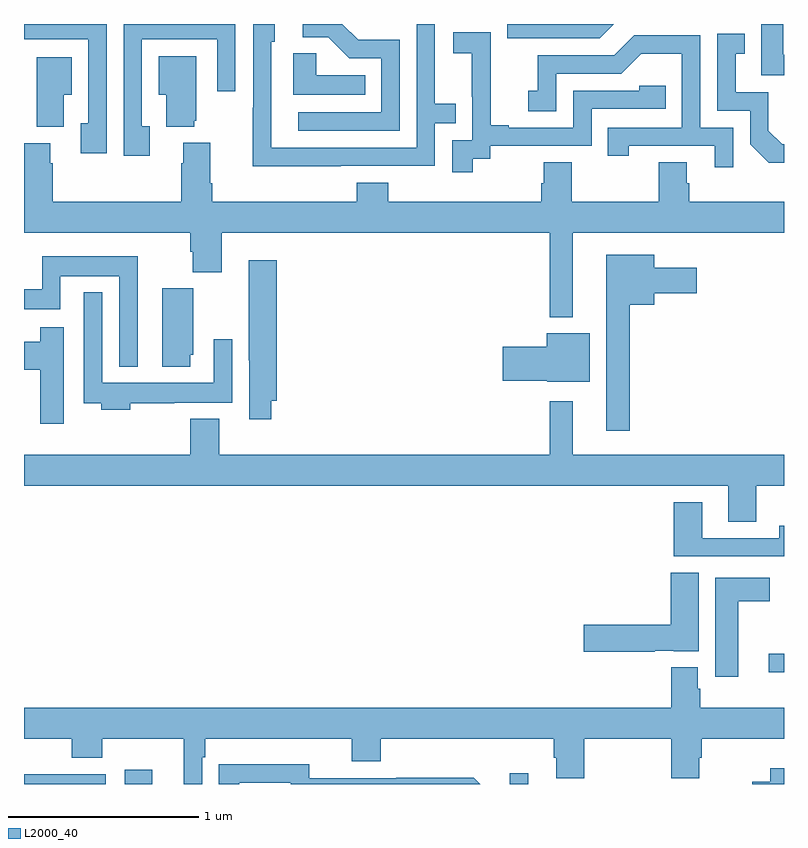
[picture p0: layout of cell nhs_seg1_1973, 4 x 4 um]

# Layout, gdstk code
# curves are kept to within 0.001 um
import gdstk
lib = gdstk.Library(unit=1e-6, precision=1e-09)
def R(c, l, rs):  # rectangles x0, y0, x1, y1
    for r in rs: c.add(gdstk.rectangle(r[:2], r[2:], *l))
def P(c, l, *ps):  # polygons
    for p in ps: c.add(gdstk.Polygon(p, *l))
L2000_40 = (2000, 40)

nhs_seg1_1973 = lib.new_cell('nhs_seg1_1973')
R(nhs_seg1_1973, L2000_40, [(219,514.199,219.43,514.25), (219.53,514.199,219.676,514.273), (221.556,514.199,221.653,514.255), (222.921,514.787,223,514.884)])
P(nhs_seg1_1973, L2000_40, [(223,518.038),(222.995,518.038),(222.995,518.199),(222.879,518.199),(222.879,517.929),(223,517.929)],
  [(222.105,518.199),(221.544,518.199),(221.544,518.124),(222.03,518.124)],
  [(220.667,517.452),(221.163,517.452),(221.163,517.677),(221.273,517.677),(221.273,517.778),(221.163,517.778),(221.163,518.199),(221.067,518.199),(221.067,517.548),(220.302,517.548),(220.302,518.106),(220.321,518.106),(220.321,518.199),(220.206,518.199),(220.206,517.757),(220.204,517.757),(220.204,517.451),(220.667,517.451)],
  [(219.435,518.199),(219,518.199),(219,518.118),(219.339,518.118),(219.339,517.677),(219.299,517.677),(219.299,517.52),(219.435,517.52)],
  [(220.977,518.115),(220.758,518.115),(220.674,518.199),(220.467,518.199),(220.467,518.13),(220.601,518.13),(220.712,518.019),(220.881,518.019),(220.881,517.734),(220.443,517.734),(220.443,517.638),(220.977,517.638)],
  [(219.661,517.662),(219.621,517.662),(219.621,518.118),(220.017,518.118),(220.017,517.845),(220.113,517.845),(220.113,518.199),(219.525,518.199),(219.525,517.506),(219.661,517.506)],
  [(221.362,517.489),(221.454,517.489),(221.454,517.557),(221.988,517.557),(221.988,517.752),(222.377,517.752),(222.377,517.875),(222.237,517.875),(222.237,517.848),(221.892,517.848),(221.892,517.653),(221.551,517.653),(221.551,517.666),(221.456,517.666),(221.456,517.949),(221.457,517.949),(221.457,518.155),(221.259,518.155),(221.259,518.045),(221.357,518.045),(221.357,517.817),(221.358,517.817),(221.358,517.587),(221.253,517.587),(221.253,517.419),(221.362,517.419)],
  [(223,517.566),(222.99,517.566),(222.918,517.638),(222.918,517.839),(222.745,517.839),(222.745,518.043),(222.794,518.043),(222.794,518.149),(222.648,518.149),(222.648,517.743),(222.822,517.743),(222.822,517.566),(222.92,517.469),(223,517.469)],
  [(222.732,517.653),(222.558,517.653),(222.558,518.139),(222.212,518.139),(222.107,518.034),(221.704,518.034),(221.704,517.849),(221.655,517.849),(221.655,517.74),(221.802,517.74),(221.802,517.938),(222.144,517.938),(222.248,518.042),(222.462,518.042),(222.462,517.653),(222.073,517.653),(222.073,517.506),(222.184,517.506),(222.184,517.557),(222.635,517.557),(222.635,517.446),(222.732,517.446)],
  [(220.796,517.93),(220.539,517.93),(220.539,518.045),(220.418,518.045),(220.418,517.826),(220.796,517.826)],
  [(219.896,517.689),(219.907,517.689),(219.907,518.029),(219.71,518.029),(219.71,517.826),(219.749,517.826),(219.749,517.658),(219.896,517.658)],
  [(219.208,517.826),(219.25,517.826),(219.25,518.023),(219.068,518.023),(219.068,517.657),(219.208,517.657)],
  [(221.887,517.1),(223,517.1),(223,517.264),(222.5,517.264),(222.5,517.362),(222.487,517.362),(222.487,517.472),(222.34,517.472),(222.34,517.264),(221.883,517.264),(221.883,517.472),(221.735,517.472),(221.735,517.362),(221.723,517.362),(221.723,517.264),(220.916,517.264),(220.916,517.363),(220.751,517.363),(220.751,517.264),(219.992,517.264),(219.992,517.36),(219.979,517.36),(219.979,517.573),(219.839,517.573),(219.839,517.466),(219.827,517.466),(219.827,517.264),(219.152,517.264),(219.152,517.466),(219.139,517.466),(219.139,517.572),(219,517.572),(219,517.1),(219.875,517.1),(219.875,517.001),(219.887,517.001),(219.887,516.892),(220.04,516.892),(220.04,517.1),(221.766,517.1),(221.766,516.656),(221.887,516.656)],
  [(222.187,516.722),(222.316,516.722),(222.316,516.782),(222.541,516.782),(222.541,516.916),(222.316,516.916),(222.316,516.985),(222.065,516.985),(222.065,516.057),(222.187,516.057)],
  [(219.598,516.976),(219.095,516.976),(219.095,516.802),(219,516.802),(219,516.698),(219.192,516.698),(219.192,516.872),(219.501,516.872),(219.501,516.395),(219.598,516.395)],
  [(220.301,516.215),(220.331,516.215),(220.331,516.955),(220.184,516.955),(220.184,516.428),(220.185,516.428),(220.185,516.12),(220.301,516.12)],
  [(219.874,516.459),(219.892,516.459),(219.892,516.807),(219.728,516.807),(219.728,516.395),(219.874,516.395)],
  [(219.56,516.204),(219.791,516.204),(219.791,516.206),(220.095,516.206),(220.095,516.541),(219.999,516.541),(219.999,516.31),(219.411,516.31),(219.411,516.787),(219.315,516.787),(219.315,516.204),(219.407,516.204),(219.407,516.17),(219.56,516.17)],
  [(219.208,516.604),(219.086,516.604),(219.086,516.526),(219,516.526),(219,516.379),(219.086,516.379),(219.086,516.096),(219.208,516.096)],
  [(221.977,516.571),(221.75,516.571),(221.75,516.5),(221.52,516.5),(221.52,516.322),(221.754,516.322),(221.754,516.317),(221.977,516.317)],
  [(222.707,515.578),(222.855,515.578),(222.855,515.768),(223,515.768),(223,515.932),(221.887,515.932),(221.887,516.214),(221.766,516.214),(221.766,515.932),(220.027,515.932),(220.027,516.121),(219.875,516.121),(219.875,515.932),(219,515.932),(219,515.768),(222.707,515.768)],
  [(223,515.557),(222.976,515.557),(222.976,515.493),(222.571,515.493),(222.571,515.683),(222.419,515.683),(222.419,515.397),(223,515.397)],
  [(222.32,514.901),(222.42,514.901),(222.42,514.898),(222.55,514.898),(222.55,515.312),(222.404,515.312),(222.404,515.036),(221.946,515.036),(221.946,514.894),(222.32,514.894)],
  [(222.76,515.162),(222.925,515.162),(222.925,515.284),(222.638,515.284),(222.638,514.764),(222.76,514.764)],
  [(219.939,514.34),(219.953,514.34),(219.953,514.436),(220.724,514.436),(220.724,514.319),(220.877,514.319),(220.877,514.436),(221.789,514.436),(221.789,514.338),(221.801,514.338),(221.801,514.228),(221.949,514.228),(221.949,514.436),(222.406,514.436),(222.406,514.228),(222.553,514.228),(222.553,514.338),(222.566,514.338),(222.566,514.436),(223,514.436),(223,514.6),(222.56,514.6),(222.56,514.701),(222.547,514.701),(222.547,514.813),(222.407,514.813),(222.407,514.6),(219,514.6),(219,514.436),(219.251,514.436),(219.251,514.337),(219.411,514.337),(219.411,514.436),(219.842,514.436),(219.842,514.199),(219.939,514.199)],
  [(220.132,514.206),(220.404,514.206),(220.404,514.199),(221.401,514.199),(221.368,514.232),(220.96,514.232),(220.96,514.23),(220.5,514.23),(220.5,514.303),(220.024,514.302),(220.024,514.199),(220.132,514.199)],
  [(223,514.282),(222.927,514.282),(222.927,514.212),(222.834,514.212),(222.834,514.199),(223,514.199)])

lib.write_gds('nhs_seg1_1973.gds')
